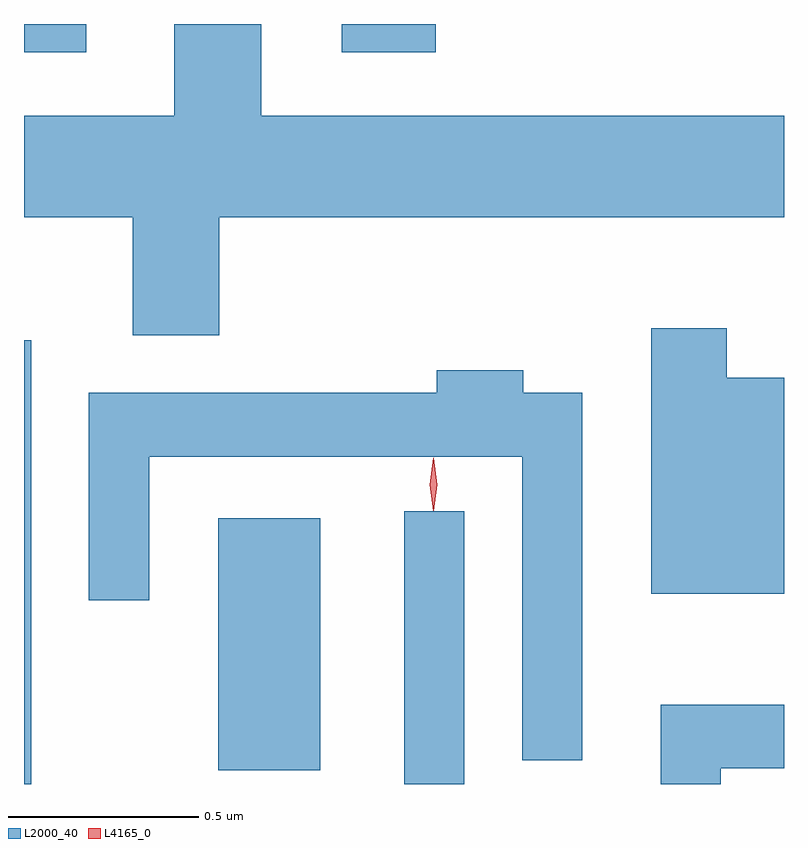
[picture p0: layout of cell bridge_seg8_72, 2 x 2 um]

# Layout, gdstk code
import gdstk
lib = gdstk.Library(unit=1e-6, precision=1e-09)
def R(c, l, rs):  # rectangles x0, y0, x1, y1
    for r in rs: c.add(gdstk.rectangle(r[:2], r[2:], *l))
def P(c, l, *ps):  # polygons
    for p in ps: c.add(gdstk.Polygon(p, *l))
L2000_40 = (2000, 40)
L4165_0 = (4165, 0)

bridge_seg8_72 = lib.new_cell('bridge_seg8_72')
R(bridge_seg8_72, L2000_40, [(1521.595,1817.165,1521.614,1818.333), (1522.596,1817.165,1522.754,1817.883), (1522.106,1817.201,1522.374,1817.864), (1521.595,1819.091,1521.759,1819.165), (1522.431,1819.091,1522.679,1819.165)])
P(bridge_seg8_72, L2000_40, [(1522.109,1818.656),(1523.595,1818.656),(1523.595,1818.924),(1522.219,1818.924),(1522.219,1819.165),(1521.991,1819.165),(1521.991,1818.924),(1521.595,1818.924),(1521.595,1818.656),(1521.881,1818.656),(1521.881,1818.346),(1522.109,1818.346)],
  [(1523.595,1818.234),(1523.444,1818.234),(1523.444,1818.364),(1523.246,1818.364),(1523.246,1817.666),(1523.595,1817.666)],
  [(1523.064,1818.194),(1522.909,1818.194),(1522.909,1818.254),(1522.681,1818.254),(1522.681,1818.194),(1521.766,1818.194),(1521.766,1817.648),(1521.924,1817.648),(1521.924,1818.026),(1522.906,1818.026),(1522.906,1817.228),(1523.064,1817.228)],
  [(1523.429,1817.206),(1523.595,1817.206),(1523.595,1817.374),(1523.271,1817.374),(1523.271,1817.165),(1523.429,1817.165)])
P(bridge_seg8_72, L4165_0, [(1522.672,1817.884),(1522.663,1817.953),(1522.672,1818.022),(1522.673,1818.023),(1522.673,1818.022),(1522.683,1817.953),(1522.673,1817.884),(1522.673,1817.884)])

lib.write_gds('bridge_seg8_72.gds')
